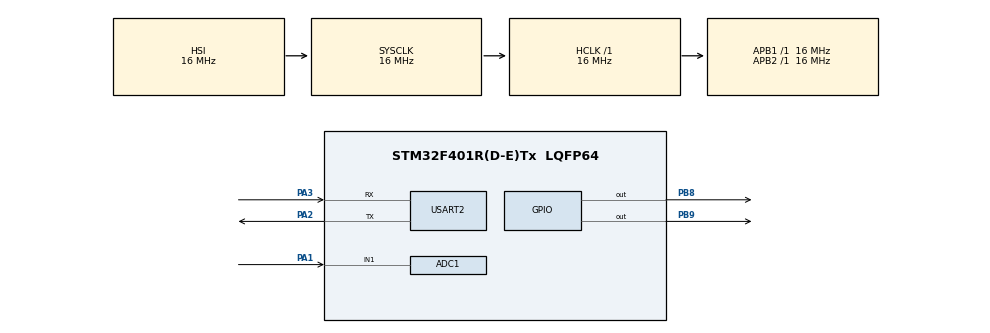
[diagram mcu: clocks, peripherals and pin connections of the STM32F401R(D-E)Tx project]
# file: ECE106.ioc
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ADC1.Channel-0\#ChannelRegularConversion=ADC_CHANNEL_1
ADC1.NbrOfConversionFlag=1
ADC1.Rank-0\#ChannelRegularConversion=1
ADC1.SamplingTime-0\#ChannelRegularConversion=ADC_SAMPLETIME_3CYCLES
ADC1.master=1
Mcu.Family=STM32F4
Mcu.Name=STM32F401R(D-E)Tx
Mcu.Package=LQFP64
NVIC.PriorityGroup=NVIC_PRIORITYGROUP_4
PA0-WKUP.Signal=ADCx_IN0
PA1.Signal=ADCx_IN1
PA2.Mode=Asynchronous
PA2.Signal=USART2_TX
PA3.Mode=Asynchronous
PA3.Signal=USART2_RX
PB8.Signal=GPIO_Output
PB9.Signal=GPIO_Output
ProjectManager.HeapSize=0x200
ProjectManager.StackSize=0x400
ProjectManager.TargetToolchain=STM32CubeIDE
RCC.AHBFreq_Value=16000000
RCC.APB1Freq_Value=16000000
RCC.APB2Freq_Value=16000000
RCC.CortexFreq_Value=16000000
RCC.HSE_VALUE=25000000
RCC.HSI_VALUE=16000000
RCC.LSE_VALUE=32768
RCC.SYSCLKFreq_VALUE=16000000
RCC.VCOOutputFreq_Value=192000000
SH.ADCx_IN0.0=ADC1_IN0
SH.ADCx_IN1.0=ADC1_IN1,IN1
USART2.VirtualMode=VM_ASYNC
VP_TIM1_VS_ClockSourceINT.Mode=Internal
board=custom

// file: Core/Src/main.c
/* USER CODE BEGIN Header */
/**
  ******************************************************************************
  * @file           : main.c
  * @brief          : Main program body
  ******************************************************************************
  * @attention
  *
  * Copyright (c) 2025 STMicroelectronics.
  * All rights reserved.
  *
  * This software is licensed under terms that can be found in the LICENSE file
  * in the root directory of this software component.
  * If no LICENSE file comes with this software, it is provided AS-IS.
  *
  ******************************************************************************
  */
/* USER CODE END Header */
#include "main.h"

ADC_HandleTypeDef hadc1;

TIM_HandleTypeDef htim1;

UART_HandleTypeDef huart2;

/* USER CODE BEGIN PV */
// UART发�?�缓冲区
char uart_buffer[100];

// 电阻值定�????????
#define R1 2000.0f // 输入端电阻（欧姆�????????

// ADC值转电压的参�????????
#define ADC_REF_VOLTAGE 3.3f
#define ADC_RESOLUTION 4096.0f
/* USER CODE END PV */

void SystemClock_Config(void);
static void MX_GPIO_Init(void);
static void MX_ADC1_Init(void);
static void MX_USART2_UART_Init(void);
static void MX_TIM1_Init(void);

int main(void)
{

  /* USER CODE BEGIN 1 */
	HAL_Init();
	SystemClock_Config();
	MX_GPIO_Init();
	MX_ADC1_Init();
	MX_USART2_UART_Init();
	MX_TIM1_Init();
  /* USER CODE END 1 */

  /* MCU Configuration--------------------------------------------------------*/

  /* Reset of all peripherals, Initializes the Flash interface and the Systick. */
  HAL_Init();

  /* Configure the system clock */
  SystemClock_Config();

  /* Initialize all configured peripherals */
  MX_GPIO_Init();
  MX_ADC1_Init();
  MX_USART2_UART_Init();
  MX_TIM1_Init();

  /* Infinite loop */
  /* USER CODE BEGIN WHILE */
  while (1)
  {
	  // 启动ADC
	       HAL_ADC_Start(&hadc1);

	       // GPIO充电

	       float  measured_voltage=0;

	       uint16_t actualAdcValue;
//	       uint32_t adc_value = HAL_ADC_GetValue(&hadc1);
//	       	       	       	           HAL_ADC_PollForConversion(&hadc1, 1000);
//	       	       	       	           actualAdcValue = (uint16_t)(adc_value & 0x0FFF);
//	       	       	       	           measured_voltage = (actualAdcValue / 4095.0f) * 3.3f;
//	       	       	       	     HAL_ADC_Stop(&hadc1);
//	       // 监测电压变化
	       	       	       HAL_GPIO_WritePin(GPIOB, GPIO_PIN_8, GPIO_PIN_SET); // D15高电�????????
	       	       	 int start_time = HAL_GetTick();
	       while (measured_voltage < (0.9*3.3f)) // 目标电压�????????63.2% Vcc
	       {
	    	   HAL_ADC_Start(&hadc1);
	           uint32_t adc_value = HAL_ADC_GetValue(&hadc1);
	           HAL_ADC_PollForConversion(&hadc1, 1000);
	           actualAdcValue = (uint16_t)(adc_value & 0x0FFF);
	           measured_voltage = (actualAdcValue / 4095.0f) * 3.3f;
	           //HAL_Delay(1); // 延时100ms
	           sprintf(uart_buffer, "measured_voltage: %d V\r\n", (int)(measured_voltage*10));
	           HAL_UART_Transmit(&huart2, (uint8_t *)uart_buffer, strlen(uart_buffer), 1000);
	           HAL_ADC_Stop(&hadc1);
	       }
	       // 停止充电
	       int end_time = HAL_GetTick();
	       HAL_GPIO_WritePin(GPIOB, GPIO_PIN_8, GPIO_PIN_RESET); // D15低电�????????

	       // 计算电容�????????
	       uint32_t charge_time = end_time - start_time; // 时间差（毫秒�????????
	       float capacitance =(float)charge_time / (R1);

	       // 将结果发送到UART2
	       sprintf(uart_buffer, "Measured distance: %d mm\r\n", (int)(capacitance/100*50000));
	       HAL_UART_Transmit(&huart2, (uint8_t *)uart_buffer, strlen(uart_buffer), 1000);
	       HAL_Delay(10000);
	       HAL_ADC_Stop(&hadc1);
	       HAL_ADC_Start(&hadc1);
	       uint32_t adc_value = HAL_ADC_GetValue(&hadc1);
	       	       	           HAL_ADC_PollForConversion(&hadc1, 1000);
	       	       	           actualAdcValue = (uint16_t)(adc_value & 0x0FFF);
	       	       	           measured_voltage = (actualAdcValue / 4095.0f) * 3.3f;
	       	       	           HAL_Delay(100); // 延时100ms
	       	       	     HAL_ADC_Stop(&hadc1);
//	       	       	           sprintf(uart_buffer, "measured_voltage1: %d V\r\n", (int)(measured_voltage*10));
//	       	       	           HAL_UART_Transmit(&huart2, (uint8_t *)uart_buffer, strlen(uart_buffer), 1000);

//	       adc_value = HAL_ADC_GetValue(&hadc1);
//	       	       	       	           HAL_ADC_PollForConversion(&hadc1, 1000);
//	       	       	       	           actualAdcValue = (uint16_t)(adc_value & 0x0FFF);
//	       	       	       	           measured_voltage = (actualAdcValue / 4095.0f) * 3.3f;
//	       	       	       	           HAL_Delay(100); // 延时100ms
//	       	       	       	           sprintf(uart_buffer, "measured_voltage2: %d V\r\n", (int)(measured_voltage*10));
//	       	       	       	           HAL_UART_Transmit(&huart2, (uint8_t *)uart_buffer, strlen(uart_buffer), 1000);

    /* USER CODE END WHILE */

  }
}

void SystemClock_Config(void)
{
  RCC_OscInitTypeDef RCC_OscInitStruct = {0};
  RCC_ClkInitTypeDef RCC_ClkInitStruct = {0};

  /** Configure the main internal regulator output voltage
  */
  __HAL_RCC_PWR_CLK_ENABLE();
  __HAL_PWR_VOLTAGESCALING_CONFIG(PWR_REGULATOR_VOLTAGE_SCALE2);

  /** Initializes the RCC Oscillators according to the specified parameters
  * in the RCC_OscInitTypeDef structure.
  */
  RCC_OscInitStruct.OscillatorType = RCC_OSCILLATORTYPE_HSI;
  RCC_OscInitStruct.HSIState = RCC_HSI_ON;
  RCC_OscInitStruct.HSICalibrationValue = RCC_HSICALIBRATION_DEFAULT;
  RCC_OscInitStruct.PLL.PLLState = RCC_PLL_NONE;
  if (HAL_RCC_OscConfig(&RCC_OscInitStruct) != HAL_OK)
  {
    Error_Handler();
  }

  /** Initializes the CPU, AHB and APB buses clocks
  */
  RCC_ClkInitStruct.ClockType = RCC_CLOCKTYPE_HCLK|RCC_CLOCKTYPE_SYSCLK
                              |RCC_CLOCKTYPE_PCLK1|RCC_CLOCKTYPE_PCLK2;
  RCC_ClkInitStruct.SYSCLKSource = RCC_SYSCLKSOURCE_HSI;
  RCC_ClkInitStruct.AHBCLKDivider = RCC_SYSCLK_DIV1;
  RCC_ClkInitStruct.APB1CLKDivider = RCC_HCLK_DIV1;
  RCC_ClkInitStruct.APB2CLKDivider = RCC_HCLK_DIV1;

  if (HAL_RCC_ClockConfig(&RCC_ClkInitStruct, FLASH_LATENCY_0) != HAL_OK)
  {
    Error_Handler();
  }
}

static void MX_ADC1_Init(void)
{

  ADC_ChannelConfTypeDef sConfig = {0};

  /** Configure the global features of the ADC (Clock, Resolution, Data Alignment and number of conversion)
  */
  hadc1.Instance = ADC1;
  hadc1.Init.ClockPrescaler = ADC_CLOCK_SYNC_PCLK_DIV2;
  hadc1.Init.Resolution = ADC_RESOLUTION_12B;
  hadc1.Init.ScanConvMode = DISABLE;
  hadc1.Init.ContinuousConvMode = DISABLE;
  hadc1.Init.DiscontinuousConvMode = DISABLE;
  hadc1.Init.ExternalTrigConvEdge = ADC_EXTERNALTRIGCONVEDGE_NONE;
  hadc1.Init.ExternalTrigConv = ADC_SOFTWARE_START;
  hadc1.Init.DataAlign = ADC_DATAALIGN_RIGHT;
  hadc1.Init.NbrOfConversion = 1;
  hadc1.Init.DMAContinuousRequests = DISABLE;
  hadc1.Init.EOCSelection = ADC_EOC_SINGLE_CONV;
  if (HAL_ADC_Init(&hadc1) != HAL_OK)
  {
    Error_Handler();
  }

  /** Configure for the selected ADC regular channel its corresponding rank in the sequencer and its sample time.
  */
  sConfig.Channel = ADC_CHANNEL_1;
  sConfig.Rank = 1;
  sConfig.SamplingTime = ADC_SAMPLETIME_3CYCLES;
  if (HAL_ADC_ConfigChannel(&hadc1, &sConfig) != HAL_OK)
  {
    Error_Handler();
  }

}

static void MX_TIM1_Init(void)
{

  TIM_ClockConfigTypeDef sClockSourceConfig = {0};
  TIM_MasterConfigTypeDef sMasterConfig = {0};

  htim1.Instance = TIM1;
  htim1.Init.Prescaler = 0;
  htim1.Init.CounterMode = TIM_COUNTERMODE_UP;
  htim1.Init.Period = 65535;
  htim1.Init.ClockDivision = TIM_CLOCKDIVISION_DIV1;
  htim1.Init.RepetitionCounter = 0;
  htim1.Init.AutoReloadPreload = TIM_AUTORELOAD_PRELOAD_DISABLE;
  if (HAL_TIM_Base_Init(&htim1) != HAL_OK)
  {
    Error_Handler();
  }
  sClockSourceConfig.ClockSource = TIM_CLOCKSOURCE_INTERNAL;
  if (HAL_TIM_ConfigClockSource(&htim1, &sClockSourceConfig) != HAL_OK)
  {
    Error_Handler();
  }
  sMasterConfig.MasterOutputTrigger = TIM_TRGO_RESET;
  sMasterConfig.MasterSlaveMode = TIM_MASTERSLAVEMODE_DISABLE;
  if (HAL_TIMEx_MasterConfigSynchronization(&htim1, &sMasterConfig) != HAL_OK)
  {
    Error_Handler();
  }

}

static void MX_USART2_UART_Init(void)
{

  huart2.Instance = USART2;
  huart2.Init.BaudRate = 115200;
  huart2.Init.WordLength = UART_WORDLENGTH_8B;
  huart2.Init.StopBits = UART_STOPBITS_1;
  huart2.Init.Parity = UART_PARITY_NONE;
  huart2.Init.Mode = UART_MODE_TX_RX;
  huart2.Init.HwFlowCtl = UART_HWCONTROL_NONE;
  huart2.Init.OverSampling = UART_OVERSAMPLING_16;
  if (HAL_UART_Init(&huart2) != HAL_OK)
  {
    Error_Handler();
  }

}

static void MX_GPIO_Init(void)
{
  GPIO_InitTypeDef GPIO_InitStruct = {0};

  /* GPIO Ports Clock Enable */
  __HAL_RCC_GPIOA_CLK_ENABLE();
  __HAL_RCC_GPIOB_CLK_ENABLE();

  /*Configure GPIO pin Output Level */
  HAL_GPIO_WritePin(GPIOB, GPIO_PIN_8|GPIO_PIN_9, GPIO_PIN_RESET);

  /*Configure GPIO pins : PB8 PB9 */
  GPIO_InitStruct.Pin = GPIO_PIN_8|GPIO_PIN_9;
  GPIO_InitStruct.Mode = GPIO_MODE_OUTPUT_PP;
  GPIO_InitStruct.Pull = GPIO_NOPULL;
  GPIO_InitStruct.Speed = GPIO_SPEED_FREQ_LOW;
  HAL_GPIO_Init(GPIOB, &GPIO_InitStruct);

}

void Error_Handler(void)
{
  __disable_irq();
  while (1)
  {
  }
}
